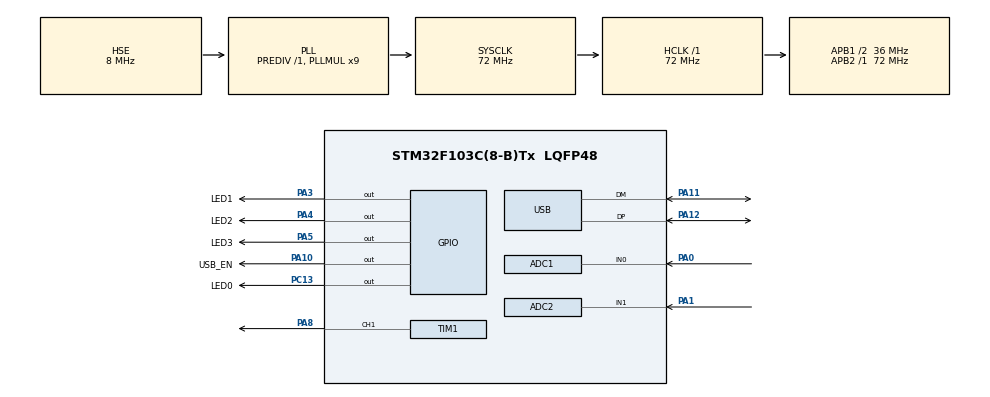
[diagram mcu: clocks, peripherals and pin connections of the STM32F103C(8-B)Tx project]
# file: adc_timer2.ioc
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ADC1.Channel-0\#ChannelRegularConversion=ADC_CHANNEL_0
ADC1.ExternalTrigConv=ADC_EXTERNALTRIGCONV_T1_CC1
ADC1.Mode=ADC_DUALMODE_REGSIMULT
ADC1.NbrOfConversionFlag=1
ADC1.Rank-0\#ChannelRegularConversion=1
ADC1.SamplingTime-0\#ChannelRegularConversion=ADC_SAMPLETIME_1CYCLE_5
ADC1.master=1
ADC2.Channel-0\#ChannelRegularConversion=ADC_CHANNEL_1
ADC2.DataAlign=ADC_DATAALIGN_RIGHT
ADC2.Mode=ADC_DUALMODE_REGSIMULT
ADC2.NbrOfConversionFlag=1
ADC2.Rank-0\#ChannelRegularConversion=1
ADC2.SamplingTime-0\#ChannelRegularConversion=ADC_SAMPLETIME_1CYCLE_5
Dma.ADC1.0.Direction=DMA_PERIPH_TO_MEMORY
Dma.ADC1.0.Instance=DMA1_Channel1
Dma.ADC1.0.MemDataAlignment=DMA_MDATAALIGN_WORD
Dma.ADC1.0.MemInc=DMA_MINC_ENABLE
Dma.ADC1.0.Mode=DMA_CIRCULAR
Dma.ADC1.0.PeriphDataAlignment=DMA_PDATAALIGN_WORD
Dma.ADC1.0.PeriphInc=DMA_PINC_DISABLE
Dma.ADC1.0.Priority=DMA_PRIORITY_MEDIUM
Dma.Request0=ADC1
Mcu.Family=STM32F1
Mcu.Name=STM32F103C(8-B)Tx
Mcu.Package=LQFP48
NVIC.DMA1_Channel1_IRQn=true\:0\:0\:false\:false\:true\:false\:true
NVIC.PriorityGroup=NVIC_PRIORITYGROUP_4
NVIC.USB_LP_CAN1_RX0_IRQn=true\:0\:0\:false\:false\:true\:false\:true
PA0-WKUP.Signal=ADCx_IN0
PA1.Signal=ADCx_IN1
PA10.GPIO_Label=USB_EN
PA10.Signal=GPIO_Output
PA11.Mode=Device
PA11.Signal=USB_DM
PA12.Mode=Device
PA12.Signal=USB_DP
PA13.Mode=Serial_Wire
PA13.Signal=SYS_JTMS-SWDIO
PA14.Mode=Serial_Wire
PA14.Signal=SYS_JTCK-SWCLK
PA3.GPIO_Label=LED1
PA3.GPIO_ModeDefaultOutputPP=GPIO_MODE_OUTPUT_PP
PA3.GPIO_PuPd=GPIO_NOPULL
PA3.GPIO_Speed=GPIO_SPEED_FREQ_LOW
PA3.PinState=GPIO_PIN_RESET
PA3.Signal=GPIO_Output
PA4.GPIO_Label=LED2
PA4.GPIO_ModeDefaultOutputPP=GPIO_MODE_OUTPUT_PP
PA4.GPIO_PuPd=GPIO_NOPULL
PA4.GPIO_Speed=GPIO_SPEED_FREQ_LOW
PA4.PinState=GPIO_PIN_RESET
PA4.Signal=GPIO_Output
PA5.GPIO_Label=LED3
PA5.GPIO_ModeDefaultOutputPP=GPIO_MODE_OUTPUT_PP
PA5.GPIO_PuPd=GPIO_NOPULL
PA5.GPIO_Speed=GPIO_SPEED_FREQ_LOW
PA5.PinState=GPIO_PIN_RESET
PA5.Signal=GPIO_Output
PA8.Signal=S_TIM1_CH1
PC13-TAMPER-RTC.GPIO_Label=LED0
PC13-TAMPER-RTC.GPIO_ModeDefaultOutputPP=GPIO_MODE_OUTPUT_PP
PC13-TAMPER-RTC.GPIO_PuPd=GPIO_NOPULL
PC13-TAMPER-RTC.GPIO_Speed=GPIO_SPEED_FREQ_LOW
PC13-TAMPER-RTC.PinState=GPIO_PIN_RESET
PC13-TAMPER-RTC.Signal=GPIO_Output
PD0-OSC_IN.Mode=HSE-External-Oscillator
PD0-OSC_IN.Signal=RCC_OSC_IN
PD1-OSC_OUT.Mode=HSE-External-Oscillator
PD1-OSC_OUT.Signal=RCC_OSC_OUT
ProjectManager.HeapSize=0x200
ProjectManager.StackSize=0x400
ProjectManager.TargetToolchain=STM32CubeIDE
RCC.ADCPresc=RCC_ADCPCLK2_DIV6
RCC.AHBFreq_Value=72000000
RCC.APB1CLKDivider=RCC_HCLK_DIV2
RCC.APB1Freq_Value=36000000
RCC.APB1TimFreq_Value=72000000
RCC.APB2Freq_Value=72000000
RCC.APB2TimFreq_Value=72000000
RCC.HCLKFreq_Value=72000000
RCC.PLLMUL=RCC_PLL_MUL9
RCC.PLLSourceVirtual=RCC_PLLSOURCE_HSE
RCC.SYSCLKFreq_VALUE=72000000
RCC.SYSCLKSource=RCC_SYSCLKSOURCE_PLLCLK
RCC.USBFreq_Value=48000000
RCC.USBPrescaler=RCC_USBCLKSOURCE_PLL_DIV1_5
SH.ADCx_IN0.0=ADC1_IN0,IN0
SH.ADCx_IN1.0=ADC2_IN1,IN1
SH.S_TIM1_CH1.0=TIM1_CH1,PWM Generation1 CH1
TIM1.AutoReloadPreload=TIM_AUTORELOAD_PRELOAD_DISABLE
TIM1.Channel-PWM\ Generation1\ CH1=TIM_CHANNEL_1
TIM1.Period=720-1
TIM1.Prescaler=0
TIM1.Pulse-PWM\ Generation1\ CH1=72-1
TIM1.TIM_MasterOutputTrigger=TIM_TRGO_OC1
USB_DEVICE.CLASS_NAME_FS=CDC
USB_DEVICE.VirtualMode=Cdc
USB_DEVICE.VirtualModeFS=Cdc_FS
VP_TIM1_VS_ClockSourceINT.Mode=Internal
VP_USB_DEVICE_VS_USB_DEVICE_CDC_FS.Mode=CDC_FS
board=custom

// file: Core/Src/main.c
/* USER CODE BEGIN Header */
/**
 ******************************************************************************
 * @file           : main.c
 * @brief          : Main program body
 ******************************************************************************
 * @attention
 *
 * <h2><center>&copy; Copyright (c) 2020 STMicroelectronics.
 * All rights reserved.</center></h2>
 *
 * This software component is licensed by ST under BSD 3-Clause license,
 * the "License"; You may not use this file except in compliance with the
 * License. You may obtain a copy of the License at:
 *                        opensource.org/licenses/BSD-3-Clause
 *
 ******************************************************************************
 */
/* USER CODE END Header */
#include "main.h"
#include "adc.h"
#include "dma.h"
#include "tim.h"
#include "usb_device.h"
#include "gpio.h"

/* USER CODE BEGIN Includes */
#include <stdio.h>
#include "usbd_cdc_if.h"

/* USER CODE END Includes */

void SystemClock_Config(void);
/* USER CODE BEGIN PFP */

uint32_t dma_buffer[32];

static int counter1 = 0;
static int counter2 = 0;

static uint32_t val1;
static uint32_t val2;

void HAL_ADC_ConvCpltCallback(ADC_HandleTypeDef *hadc) {
	/* Prevent unused argument(s) compilation warning */
	UNUSED(hadc);
	counter1++;
	val1 = dma_buffer[0];
	/* NOTE : This function should not be modified. When the callback is needed,
	 function HAL_ADC_ConvCpltCallback must be implemented in the user file.
	 */
}

/**
 * @brief  Conversion DMA half-transfer callback in non blocking mode
 * @param  hadc: ADC handle
 * @retval None
 */
void HAL_ADC_ConvHalfCpltCallback(ADC_HandleTypeDef *hadc) {
	/* Prevent unused argument(s) compilation warning */
	counter2++;
	UNUSED(hadc);
	val2 = dma_buffer[16];

	/* NOTE : This function should not be modified. When the callback is needed,
	 function HAL_ADC_ConvHalfCpltCallback must be implemented in the user file.
	 */
}

/* USER CODE END PFP */

/* USER CODE BEGIN 0 */

int ticks = 0;
uint32_t value1 = 0;
uint32_t value2 = 0;

//int __io_putchar(int ch)
//{
// uint8_t c[1];
// c[0] = ch & 0x00FF;
// HAL_UART_Transmit(&huart2, &*c, 1, 10);
// return ch;
//}

int _write(int file, char *ptr, int len) {
	// TODO: process returned value.
	CDC_Transmit_FS((uint8_t*) ptr, (uint16_t) len);
// int DataIdx;
// for(DataIdx= 0; DataIdx< len; DataIdx++)
// {
// __io_putchar(*ptr++);
// }
//return len;
	return len;
}

/* USER CODE END 0 */

int main(void) {

	/* MCU Configuration--------------------------------------------------------*/

	/* Reset of all peripherals, Initializes the Flash interface and the Systick. */
	HAL_Init();

	/* Configure the system clock */
	SystemClock_Config();

	/* Initialize all configured peripherals */
	MX_GPIO_Init();
	MX_DMA_Init();
	MX_TIM1_Init();
	MX_USB_DEVICE_Init();
	MX_ADC1_Init();
	MX_ADC2_Init();
	/* USER CODE BEGIN 2 */

	HAL_ADC_Start(&hadc2);
	HAL_ADCEx_MultiModeStart_DMA(&hadc1, &(dma_buffer[0]), 32);

	HAL_TIM_PWM_Start(&htim1, TIM_CHANNEL_1);

	USB_EN_GPIO_Port->BSRR = USB_EN_Pin;

	/* USER CODE END 2 */

	/* Infinite loop */
	/* USER CODE BEGIN WHILE */
	while (1) {
		HAL_Delay(500);
		LED0_GPIO_Port->BSRR = LED0_Pin;
		HAL_Delay(500);
		printf("\n");
		//printf("%d, %lu, %lu\n", ticks, value1, value2);
		//printf("\n%d, %d\n", counter1, counter2);
		printf("A %lu, %lu\n", val1 & 0xffff, val1 >> 16);
		HAL_Delay(100);
		printf("B %lu, %lu\n", val2 & 0xffff, val2 >> 16);

		LED0_GPIO_Port->BSRR = (uint32_t) LED0_Pin << 16u;

		for (int i = 0; i < 32; i++) {
			if (i == 16) {
				HAL_Delay(100);
				printf("\n");
			}

			printf("%08lx ", dma_buffer[i]);

		}
		printf("\n");

		/* USER CODE END WHILE */

	}
}

void SystemClock_Config(void) {
	RCC_OscInitTypeDef RCC_OscInitStruct = { 0 };
	RCC_ClkInitTypeDef RCC_ClkInitStruct = { 0 };
	RCC_PeriphCLKInitTypeDef PeriphClkInit = { 0 };

	/** Initializes the RCC Oscillators according to the specified parameters
	 * in the RCC_OscInitTypeDef structure.
	 */
	RCC_OscInitStruct.OscillatorType = RCC_OSCILLATORTYPE_HSE;
	RCC_OscInitStruct.HSEState = RCC_HSE_ON;
	RCC_OscInitStruct.HSEPredivValue = RCC_HSE_PREDIV_DIV1;
	RCC_OscInitStruct.HSIState = RCC_HSI_ON;
	RCC_OscInitStruct.PLL.PLLState = RCC_PLL_ON;
	RCC_OscInitStruct.PLL.PLLSource = RCC_PLLSOURCE_HSE;
	RCC_OscInitStruct.PLL.PLLMUL = RCC_PLL_MUL9;
	if (HAL_RCC_OscConfig(&RCC_OscInitStruct) != HAL_OK) {
		Error_Handler();
	}
	/** Initializes the CPU, AHB and APB buses clocks
	 */
	RCC_ClkInitStruct.ClockType = RCC_CLOCKTYPE_HCLK | RCC_CLOCKTYPE_SYSCLK
			| RCC_CLOCKTYPE_PCLK1 | RCC_CLOCKTYPE_PCLK2;
	RCC_ClkInitStruct.SYSCLKSource = RCC_SYSCLKSOURCE_PLLCLK;
	RCC_ClkInitStruct.AHBCLKDivider = RCC_SYSCLK_DIV1;
	RCC_ClkInitStruct.APB1CLKDivider = RCC_HCLK_DIV2;
	RCC_ClkInitStruct.APB2CLKDivider = RCC_HCLK_DIV1;

	if (HAL_RCC_ClockConfig(&RCC_ClkInitStruct, FLASH_LATENCY_2) != HAL_OK) {
		Error_Handler();
	}
	PeriphClkInit.PeriphClockSelection = RCC_PERIPHCLK_ADC | RCC_PERIPHCLK_USB;
	PeriphClkInit.AdcClockSelection = RCC_ADCPCLK2_DIV6;
	PeriphClkInit.UsbClockSelection = RCC_USBCLKSOURCE_PLL_DIV1_5;
	if (HAL_RCCEx_PeriphCLKConfig(&PeriphClkInit) != HAL_OK) {
		Error_Handler();
	}
}

void Error_Handler(void) {
}

/************************ (C) COPYRIGHT STMicroelectronics *****END OF FILE****/
